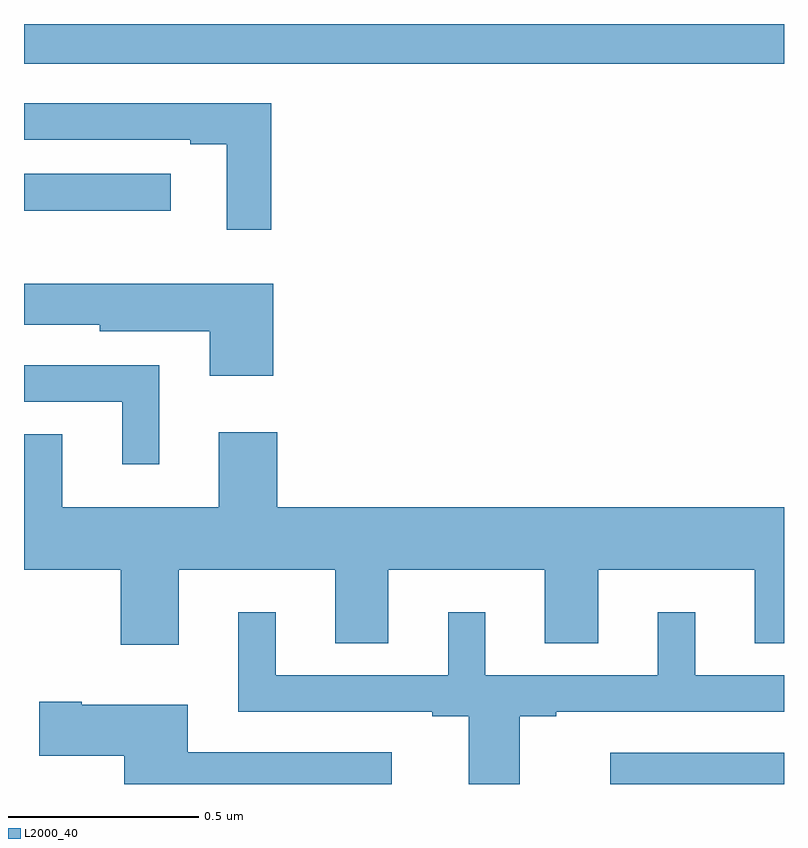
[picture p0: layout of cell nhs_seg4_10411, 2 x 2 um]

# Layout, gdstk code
import gdstk
lib = gdstk.Library(unit=1e-6, precision=1e-09)
def R(c, l, rs):  # rectangles x0, y0, x1, y1
    for r in rs: c.add(gdstk.rectangle(r[:2], r[2:], *l))
def P(c, l, *ps):  # polygons
    for p in ps: c.add(gdstk.Polygon(p, *l))
L2000_40 = (2000, 40)

nhs_seg4_10411 = lib.new_cell('nhs_seg4_10411')
R(nhs_seg4_10411, L2000_40, [(240.543,818.9,241,818.982), (239,820.409,239.386,820.506), (239,820.796,241,820.9)])
P(nhs_seg4_10411, L2000_40, [(239.651,820.692),(239,820.692),(239,820.596),(239.438,820.596),(239.438,820.584),(239.534,820.584),(239.534,820.359),(239.651,820.359)],
  [(239.656,820.216),(239,820.216),(239,820.109),(239.199,820.109),(239.199,820.091),(239.489,820.091),(239.489,819.975),(239.656,819.975)],
  [(239.356,820.002),(239,820.002),(239,819.906),(239.258,819.906),(239.258,819.741),(239.356,819.741)],
  [(239.666,819.826),(239.513,819.826),(239.513,819.628),(239.101,819.628),(239.101,819.821),(239,819.821),(239,819.464),(239.255,819.464),(239.255,819.267),(239.407,819.267),(239.407,819.464),(239.819,819.464),(239.819,819.271),(239.959,819.271),(239.959,819.464),(240.371,819.464),(240.371,819.271),(240.511,819.271),(240.511,819.464),(240.923,819.464),(240.923,819.271),(241,819.271),(241,819.628),(239.666,819.628)],
  [(240.304,819.078),(240.4,819.078),(240.4,819.09),(241,819.09),(241,819.186),(240.766,819.186),(240.766,819.352),(240.668,819.352),(240.668,819.186),(240.214,819.186),(240.214,819.352),(240.116,819.352),(240.116,819.186),(239.662,819.186),(239.662,819.352),(239.564,819.352),(239.564,819.09),(240.074,819.09),(240.074,819.078),(240.17,819.078),(240.17,818.9),(240.304,818.9)],
  [(239.968,818.983),(239.431,818.983),(239.431,819.109),(239.152,819.109),(239.152,819.117),(239.04,819.117),(239.04,818.975),(239.264,818.975),(239.264,818.9),(239.968,818.9)])

lib.write_gds('nhs_seg4_10411.gds')
